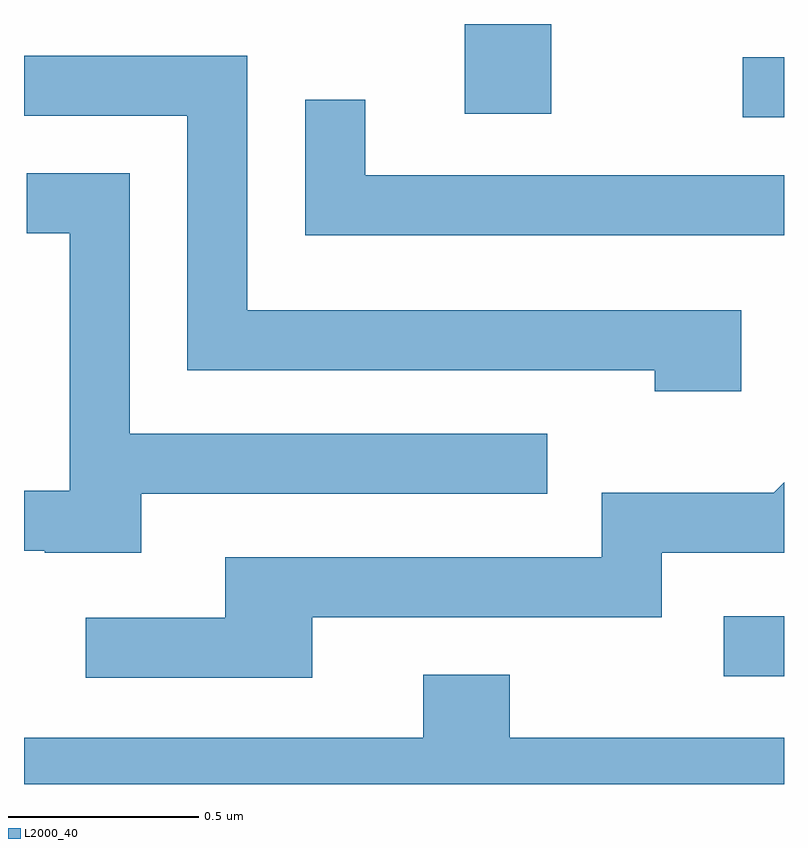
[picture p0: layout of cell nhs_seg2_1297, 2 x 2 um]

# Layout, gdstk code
import gdstk
lib = gdstk.Library(unit=1e-6, precision=1e-09)
def R(c, l, rs):  # rectangles x0, y0, x1, y1
    for r in rs: c.add(gdstk.rectangle(r[:2], r[2:], *l))
def P(c, l, *ps):  # polygons
    for p in ps: c.add(gdstk.Polygon(p, *l))
L2000_40 = (2000, 40)

nhs_seg2_1297 = lib.new_cell('nhs_seg2_1297')
R(nhs_seg2_1297, L2000_40, [(196.453,1042.086,196.611,1042.244), (196.503,1043.556,196.611,1043.714), (195.771,1043.566,195.999,1043.802)])
P(nhs_seg2_1297, L2000_40, [(196.499,1043.049),(195.199,1043.049),(195.199,1043.719),(194.611,1043.719),(194.611,1043.561),(195.041,1043.561),(195.041,1042.891),(196.271,1042.891),(196.271,1042.836),(196.499,1042.836)],
  [(196.611,1043.404),(195.509,1043.404),(195.509,1043.603),(195.351,1043.603),(195.351,1043.246),(196.611,1043.246)],
  [(194.919,1042.566),(195.988,1042.566),(195.988,1042.724),(194.889,1042.724),(194.889,1043.409),(194.618,1043.409),(194.618,1043.251),(194.731,1043.251),(194.731,1042.574),(194.611,1042.574),(194.611,1042.416),(194.665,1042.416),(194.665,1042.411),(194.919,1042.411)],
  [(195.369,1042.241),(196.289,1042.241),(196.289,1042.411),(196.611,1042.411),(196.611,1042.596),(196.584,1042.569),(196.131,1042.569),(196.131,1042.399),(195.141,1042.399),(195.141,1042.239),(194.773,1042.239),(194.773,1042.081),(195.369,1042.081)],
  [(196.611,1041.924),(195.889,1041.924),(195.889,1042.089),(195.661,1042.089),(195.661,1041.924),(194.611,1041.924),(194.611,1041.802),(196.611,1041.802)])

lib.write_gds('nhs_seg2_1297.gds')
